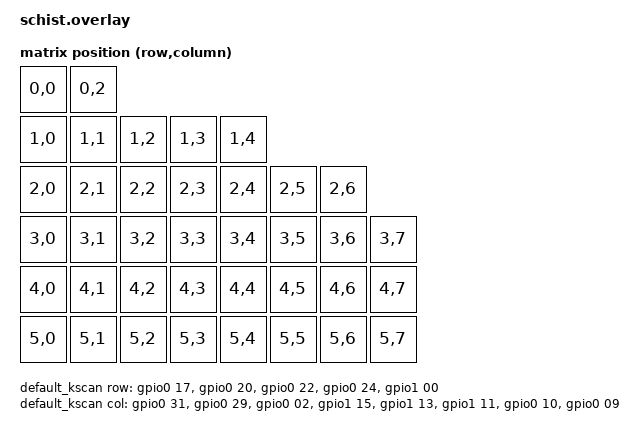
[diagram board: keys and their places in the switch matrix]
#include <dt-bindings/zmk/matrix_transform.h>

/{
    chosen {
        zmk,kscan = &default_kscan;
        zmk,matrix_transform = &default_transform;
    };

    default_kscan: kscan {
        compatible = "zmk,kscan-gpio-matrix";
        label = "default_kscan";
        diode-direction = "row2col";

        row-gpios = <&gpio0 17 (GPIO_ACTIVE_HIGH | GPIO_PULL_DOWN)>,
                    <&gpio0 20 (GPIO_ACTIVE_HIGH | GPIO_PULL_DOWN)>,
                    <&gpio0 22 (GPIO_ACTIVE_HIGH | GPIO_PULL_DOWN)>,
                    <&gpio0 24 (GPIO_ACTIVE_HIGH | GPIO_PULL_DOWN)>,
                    <&gpio1 00 (GPIO_ACTIVE_HIGH | GPIO_PULL_DOWN)>;

        col-gpios = <&gpio0 31 GPIO_ACTIVE_HIGH>,
                    <&gpio0 29 GPIO_ACTIVE_HIGH>,
                    <&gpio0 02 GPIO_ACTIVE_HIGH>,
                    <&gpio1 15 GPIO_ACTIVE_HIGH>,
                    <&gpio1 13 GPIO_ACTIVE_HIGH>,
                    <&gpio1 11 GPIO_ACTIVE_HIGH>,
                    <&gpio0 10 GPIO_ACTIVE_HIGH>,
                    <&gpio0 09 GPIO_ACTIVE_HIGH>;

    };

    default_transform: matrix_transform {
        compatible = "zmk,matrix-transform";
        rows = <5>;
        columns = <8>;

        map = <
            RC(0,0)  RC(0,2) 
            RC(1,0) RC(1,1) RC(1,2) RC(1,3) RC(1,4)
            RC(2,0) RC(2,1) RC(2,2) RC(2,3) RC(2,4) RC(2,5) RC(2,6)
            RC(3,0) RC(3,1) RC(3,2) RC(3,3) RC(3,4) RC(3,5) RC(3,6) RC(3,7)
            RC(4,0) RC(4,1) RC(4,2) RC(4,3) RC(4,4) RC(4,5) RC(4,6) RC(4,7)
            RC(5,0) RC(5,1) RC(5,2) RC(5,3) RC(5,4) RC(5,5) RC(5,6) RC(5,7)
        >;
    };
};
